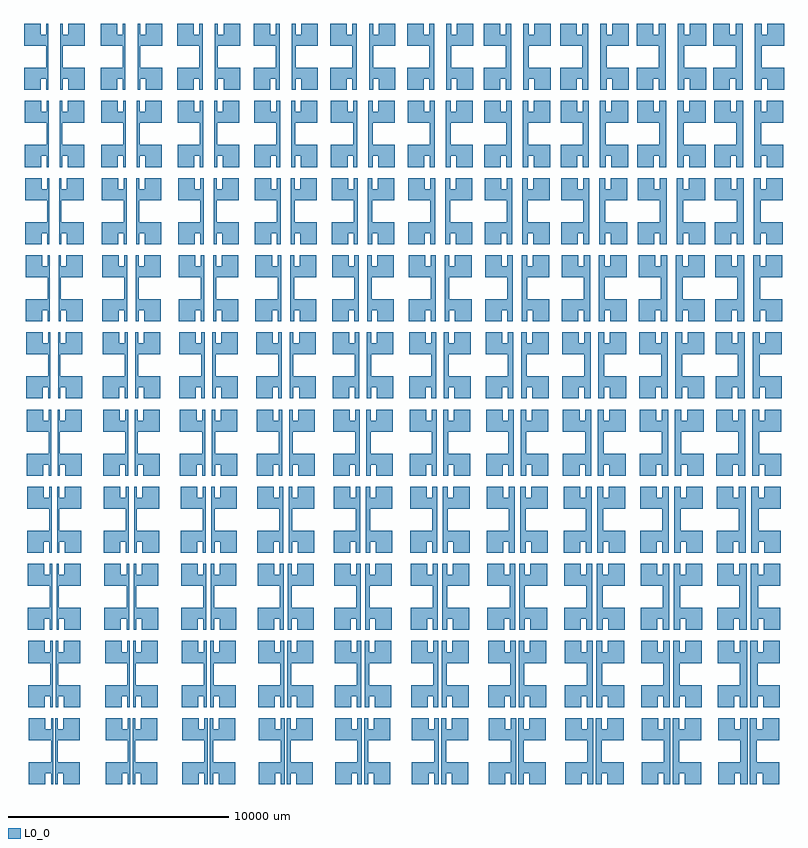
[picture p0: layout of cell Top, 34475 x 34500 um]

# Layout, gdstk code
import gdstk
lib = gdstk.Library(unit=1e-6, precision=1e-09)
def R(c, l, rs):  # rectangles x0, y0, x1, y1
    for r in rs: c.add(gdstk.rectangle(r[:2], r[2:], *l))
def P(c, l, *ps):  # polygons
    for p in ps: c.add(gdstk.Polygon(p, *l))
L0_0 = (0, 0)

top = lib.new_cell('Top')
R(top, L0_0, [(-150,-1500,-50,1500), (50,-1500,150,1500), (3325,-1500,3450,1500), (3550,-1500,3675,1500), (6800,-1500,6950,1500), (7050,-1500,7200,1500), (10275,-1500,10450,1500), (10550,-1500,10725,1500), (13750,-1500,13950,1500), (14050,-1500,14250,1500), (17225,-1500,17450,1500), (17550,-1500,17775,1500), (20700,-1500,20950,1500), (21050,-1500,21300,1500), (24175,-1500,24450,1500), (24550,-1500,24825,1500), (27650,-1500,27950,1500), (28050,-1500,28350,1500), (31125,-1500,31450,1500), (31550,-1500,31875,1500), (-175,2000,-75,5000), (75,2000,175,5000), (3300,2000,3425,5000), (3575,2000,3700,5000), (6775,2000,6925,5000), (7075,2000,7225,5000), (10250,2000,10425,5000), (10575,2000,10750,5000), (13725,2000,13925,5000), (14075,2000,14275,5000), (17200,2000,17425,5000), (17575,2000,17800,5000), (20675,2000,20925,5000), (21075,2000,21325,5000), (24150,2000,24425,5000), (24575,2000,24850,5000), (27625,2000,27925,5000), (28075,2000,28375,5000), (31100,2000,31425,5000), (31575,2000,31900,5000), (-200,5500,-100,8500), (100,5500,200,8500), (3275,5500,3400,8500), (3600,5500,3725,8500), (6750,5500,6900,8500), (7100,5500,7250,8500), (10225,5500,10400,8500), (10600,5500,10775,8500), (13700,5500,13900,8500), (14100,5500,14300,8500), (17175,5500,17400,8500), (17600,5500,17825,8500), (20650,5500,20900,8500), (21100,5500,21350,8500), (24125,5500,24400,8500), (24600,5500,24875,8500), (27600,5500,27900,8500), (28100,5500,28400,8500), (31075,5500,31400,8500), (31600,5500,31925,8500), (-225,9000,-125,12000), (125,9000,225,12000), (3250,9000,3375,12000), (3625,9000,3750,12000), (6725,9000,6875,12000), (7125,9000,7275,12000), (10200,9000,10375,12000), (10625,9000,10800,12000), (13675,9000,13875,12000), (14125,9000,14325,12000), (17150,9000,17375,12000), (17625,9000,17850,12000), (20625,9000,20875,12000), (21125,9000,21375,12000), (24100,9000,24375,12000), (24625,9000,24900,12000), (27575,9000,27875,12000), (28125,9000,28425,12000), (31050,9000,31375,12000), (31625,9000,31950,12000), (-250,12500,-150,15500), (150,12500,250,15500), (3225,12500,3350,15500), (3650,12500,3775,15500), (6700,12500,6850,15500), (7150,12500,7300,15500), (10175,12500,10350,15500), (10650,12500,10825,15500), (13650,12500,13850,15500), (14150,12500,14350,15500), (17125,12500,17350,15500), (17650,12500,17875,15500), (20600,12500,20850,15500), (21150,12500,21400,15500), (24075,12500,24350,15500), (24650,12500,24925,15500), (27550,12500,27850,15500), (28150,12500,28450,15500), (31025,12500,31350,15500), (31650,12500,31975,15500), (-275,16000,-175,19000), (175,16000,275,19000), (3200,16000,3325,19000), (3675,16000,3800,19000), (6675,16000,6825,19000), (7175,16000,7325,19000), (10150,16000,10325,19000), (10675,16000,10850,19000), (13625,16000,13825,19000), (14175,16000,14375,19000), (17100,16000,17325,19000), (17675,16000,17900,19000), (20575,16000,20825,19000), (21175,16000,21425,19000), (24050,16000,24325,19000), (24675,16000,24950,19000), (27525,16000,27825,19000), (28175,16000,28475,19000), (31000,16000,31325,19000), (31675,16000,32000,19000), (-300,19500,-200,22500), (200,19500,300,22500), (3175,19500,3300,22500), (3700,19500,3825,22500), (6650,19500,6800,22500), (7200,19500,7350,22500), (10125,19500,10300,22500), (10700,19500,10875,22500), (13600,19500,13800,22500), (14200,19500,14400,22500), (17075,19500,17300,22500), (17700,19500,17925,22500), (20550,19500,20800,22500), (21200,19500,21450,22500), (24025,19500,24300,22500), (24700,19500,24975,22500), (27500,19500,27800,22500), (28200,19500,28500,22500), (30975,19500,31300,22500), (31700,19500,32025,22500), (-325,23000,-225,26000), (225,23000,325,26000), (3150,23000,3275,26000), (3725,23000,3850,26000), (6625,23000,6775,26000), (7225,23000,7375,26000), (10100,23000,10275,26000), (10725,23000,10900,26000), (13575,23000,13775,26000), (14225,23000,14425,26000), (17050,23000,17275,26000), (17725,23000,17950,26000), (20525,23000,20775,26000), (21225,23000,21475,26000), (24000,23000,24275,26000), (24725,23000,25000,26000), (27475,23000,27775,26000), (28225,23000,28525,26000), (30950,23000,31275,26000), (31725,23000,32050,26000), (-350,26500,-250,29500), (250,26500,350,29500), (3125,26500,3250,29500), (3750,26500,3875,29500), (6600,26500,6750,29500), (7250,26500,7400,29500), (10075,26500,10250,29500), (10750,26500,10925,29500), (13550,26500,13750,29500), (14250,26500,14450,29500), (17025,26500,17250,29500), (17750,26500,17975,29500), (20500,26500,20750,29500), (21250,26500,21500,29500), (23975,26500,24250,29500), (24750,26500,25025,29500), (27450,26500,27750,29500), (28250,26500,28550,29500), (30925,26500,31250,29500), (31750,26500,32075,29500), (-375,30000,-275,33000), (275,30000,375,33000), (3100,30000,3225,33000), (3775,30000,3900,33000), (6575,30000,6725,33000), (7275,30000,7425,33000), (10050,30000,10225,33000), (10775,30000,10950,33000), (13525,30000,13725,33000), (14275,30000,14475,33000), (17000,30000,17225,33000), (17775,30000,18000,33000), (20475,30000,20725,33000), (21275,30000,21525,33000), (23950,30000,24225,33000), (24775,30000,25050,33000), (27425,30000,27725,33000), (28275,30000,28575,33000), (30900,30000,31225,33000), (31775,30000,32100,33000)])
P(top, L0_0, [(-150,500),(-1150,500),(-1150,1500),(-400,1500),(-400,1000),(-150,1000)],
  [(-150,-500),(-1150,-500),(-1150,-1500),(-400,-1500),(-400,-1000),(-150,-1000)],
  [(150,500),(1150,500),(1150,1500),(400,1500),(400,1000),(150,1000)],
  [(150,-500),(1150,-500),(1150,-1500),(400,-1500),(400,-1000),(150,-1000)],
  [(-175,4000),(-1175,4000),(-1175,5000),(-425,5000),(-425,4500),(-175,4500)],
  [(-175,3000),(-1175,3000),(-1175,2000),(-425,2000),(-425,2500),(-175,2500)],
  [(175,4000),(1175,4000),(1175,5000),(425,5000),(425,4500),(175,4500)],
  [(175,3000),(1175,3000),(1175,2000),(425,2000),(425,2500),(175,2500)],
  [(-200,7500),(-1200,7500),(-1200,8500),(-450,8500),(-450,8000),(-200,8000)],
  [(-200,6500),(-1200,6500),(-1200,5500),(-450,5500),(-450,6000),(-200,6000)],
  [(200,7500),(1200,7500),(1200,8500),(450,8500),(450,8000),(200,8000)],
  [(200,6500),(1200,6500),(1200,5500),(450,5500),(450,6000),(200,6000)],
  [(-225,11000),(-1225,11000),(-1225,12000),(-475,12000),(-475,11500),(-225,11500)],
  [(-225,10000),(-1225,10000),(-1225,9000),(-475,9000),(-475,9500),(-225,9500)],
  [(225,11000),(1225,11000),(1225,12000),(475,12000),(475,11500),(225,11500)],
  [(225,10000),(1225,10000),(1225,9000),(475,9000),(475,9500),(225,9500)],
  [(-250,14500),(-1250,14500),(-1250,15500),(-500,15500),(-500,15000),(-250,15000)],
  [(-250,13500),(-1250,13500),(-1250,12500),(-500,12500),(-500,13000),(-250,13000)],
  [(250,14500),(1250,14500),(1250,15500),(500,15500),(500,15000),(250,15000)],
  [(250,13500),(1250,13500),(1250,12500),(500,12500),(500,13000),(250,13000)],
  [(-275,18000),(-1275,18000),(-1275,19000),(-525,19000),(-525,18500),(-275,18500)],
  [(-275,17000),(-1275,17000),(-1275,16000),(-525,16000),(-525,16500),(-275,16500)],
  [(275,18000),(1275,18000),(1275,19000),(525,19000),(525,18500),(275,18500)],
  [(275,17000),(1275,17000),(1275,16000),(525,16000),(525,16500),(275,16500)],
  [(-300,21500),(-1300,21500),(-1300,22500),(-550,22500),(-550,22000),(-300,22000)],
  [(-300,20500),(-1300,20500),(-1300,19500),(-550,19500),(-550,20000),(-300,20000)],
  [(300,21500),(1300,21500),(1300,22500),(550,22500),(550,22000),(300,22000)],
  [(300,20500),(1300,20500),(1300,19500),(550,19500),(550,20000),(300,20000)],
  [(-325,25000),(-1325,25000),(-1325,26000),(-575,26000),(-575,25500),(-325,25500)],
  [(-325,24000),(-1325,24000),(-1325,23000),(-575,23000),(-575,23500),(-325,23500)],
  [(325,25000),(1325,25000),(1325,26000),(575,26000),(575,25500),(325,25500)],
  [(325,24000),(1325,24000),(1325,23000),(575,23000),(575,23500),(325,23500)],
  [(-350,28500),(-1350,28500),(-1350,29500),(-600,29500),(-600,29000),(-350,29000)],
  [(-350,27500),(-1350,27500),(-1350,26500),(-600,26500),(-600,27000),(-350,27000)],
  [(350,28500),(1350,28500),(1350,29500),(600,29500),(600,29000),(350,29000)],
  [(350,27500),(1350,27500),(1350,26500),(600,26500),(600,27000),(350,27000)],
  [(-375,32000),(-1375,32000),(-1375,33000),(-625,33000),(-625,32500),(-375,32500)],
  [(-375,31000),(-1375,31000),(-1375,30000),(-625,30000),(-625,30500),(-375,30500)],
  [(375,32000),(1375,32000),(1375,33000),(625,33000),(625,32500),(375,32500)],
  [(375,31000),(1375,31000),(1375,30000),(625,30000),(625,30500),(375,30500)],
  [(3325,500),(2325,500),(2325,1500),(3075,1500),(3075,1000),(3325,1000)],
  [(3325,-500),(2325,-500),(2325,-1500),(3075,-1500),(3075,-1000),(3325,-1000)],
  [(3675,500),(4675,500),(4675,1500),(3925,1500),(3925,1000),(3675,1000)],
  [(3675,-500),(4675,-500),(4675,-1500),(3925,-1500),(3925,-1000),(3675,-1000)],
  [(3300,4000),(2300,4000),(2300,5000),(3050,5000),(3050,4500),(3300,4500)],
  [(3300,3000),(2300,3000),(2300,2000),(3050,2000),(3050,2500),(3300,2500)],
  [(3700,4000),(4700,4000),(4700,5000),(3950,5000),(3950,4500),(3700,4500)],
  [(3700,3000),(4700,3000),(4700,2000),(3950,2000),(3950,2500),(3700,2500)],
  [(3275,7500),(2275,7500),(2275,8500),(3025,8500),(3025,8000),(3275,8000)],
  [(3275,6500),(2275,6500),(2275,5500),(3025,5500),(3025,6000),(3275,6000)],
  [(3725,7500),(4725,7500),(4725,8500),(3975,8500),(3975,8000),(3725,8000)],
  [(3725,6500),(4725,6500),(4725,5500),(3975,5500),(3975,6000),(3725,6000)],
  [(3250,11000),(2250,11000),(2250,12000),(3000,12000),(3000,11500),(3250,11500)],
  [(3250,10000),(2250,10000),(2250,9000),(3000,9000),(3000,9500),(3250,9500)],
  [(3750,11000),(4750,11000),(4750,12000),(4000,12000),(4000,11500),(3750,11500)],
  [(3750,10000),(4750,10000),(4750,9000),(4000,9000),(4000,9500),(3750,9500)],
  [(3225,14500),(2225,14500),(2225,15500),(2975,15500),(2975,15000),(3225,15000)],
  [(3225,13500),(2225,13500),(2225,12500),(2975,12500),(2975,13000),(3225,13000)],
  [(3775,14500),(4775,14500),(4775,15500),(4025,15500),(4025,15000),(3775,15000)],
  [(3775,13500),(4775,13500),(4775,12500),(4025,12500),(4025,13000),(3775,13000)],
  [(3200,18000),(2200,18000),(2200,19000),(2950,19000),(2950,18500),(3200,18500)],
  [(3200,17000),(2200,17000),(2200,16000),(2950,16000),(2950,16500),(3200,16500)],
  [(3800,18000),(4800,18000),(4800,19000),(4050,19000),(4050,18500),(3800,18500)],
  [(3800,17000),(4800,17000),(4800,16000),(4050,16000),(4050,16500),(3800,16500)],
  [(3175,21500),(2175,21500),(2175,22500),(2925,22500),(2925,22000),(3175,22000)],
  [(3175,20500),(2175,20500),(2175,19500),(2925,19500),(2925,20000),(3175,20000)],
  [(3825,21500),(4825,21500),(4825,22500),(4075,22500),(4075,22000),(3825,22000)],
  [(3825,20500),(4825,20500),(4825,19500),(4075,19500),(4075,20000),(3825,20000)],
  [(3150,25000),(2150,25000),(2150,26000),(2900,26000),(2900,25500),(3150,25500)],
  [(3150,24000),(2150,24000),(2150,23000),(2900,23000),(2900,23500),(3150,23500)],
  [(3850,25000),(4850,25000),(4850,26000),(4100,26000),(4100,25500),(3850,25500)],
  [(3850,24000),(4850,24000),(4850,23000),(4100,23000),(4100,23500),(3850,23500)],
  [(3125,28500),(2125,28500),(2125,29500),(2875,29500),(2875,29000),(3125,29000)],
  [(3125,27500),(2125,27500),(2125,26500),(2875,26500),(2875,27000),(3125,27000)],
  [(3875,28500),(4875,28500),(4875,29500),(4125,29500),(4125,29000),(3875,29000)],
  [(3875,27500),(4875,27500),(4875,26500),(4125,26500),(4125,27000),(3875,27000)],
  [(3100,32000),(2100,32000),(2100,33000),(2850,33000),(2850,32500),(3100,32500)],
  [(3100,31000),(2100,31000),(2100,30000),(2850,30000),(2850,30500),(3100,30500)],
  [(3900,32000),(4900,32000),(4900,33000),(4150,33000),(4150,32500),(3900,32500)],
  [(3900,31000),(4900,31000),(4900,30000),(4150,30000),(4150,30500),(3900,30500)],
  [(6800,500),(5800,500),(5800,1500),(6550,1500),(6550,1000),(6800,1000)],
  [(6800,-500),(5800,-500),(5800,-1500),(6550,-1500),(6550,-1000),(6800,-1000)],
  [(7200,500),(8200,500),(8200,1500),(7450,1500),(7450,1000),(7200,1000)],
  [(7200,-500),(8200,-500),(8200,-1500),(7450,-1500),(7450,-1000),(7200,-1000)],
  [(6775,4000),(5775,4000),(5775,5000),(6525,5000),(6525,4500),(6775,4500)],
  [(6775,3000),(5775,3000),(5775,2000),(6525,2000),(6525,2500),(6775,2500)],
  [(7225,4000),(8225,4000),(8225,5000),(7475,5000),(7475,4500),(7225,4500)],
  [(7225,3000),(8225,3000),(8225,2000),(7475,2000),(7475,2500),(7225,2500)],
  [(6750,7500),(5750,7500),(5750,8500),(6500,8500),(6500,8000),(6750,8000)],
  [(6750,6500),(5750,6500),(5750,5500),(6500,5500),(6500,6000),(6750,6000)],
  [(7250,7500),(8250,7500),(8250,8500),(7500,8500),(7500,8000),(7250,8000)],
  [(7250,6500),(8250,6500),(8250,5500),(7500,5500),(7500,6000),(7250,6000)],
  [(6725,11000),(5725,11000),(5725,12000),(6475,12000),(6475,11500),(6725,11500)],
  [(6725,10000),(5725,10000),(5725,9000),(6475,9000),(6475,9500),(6725,9500)],
  [(7275,11000),(8275,11000),(8275,12000),(7525,12000),(7525,11500),(7275,11500)],
  [(7275,10000),(8275,10000),(8275,9000),(7525,9000),(7525,9500),(7275,9500)],
  [(6700,14500),(5700,14500),(5700,15500),(6450,15500),(6450,15000),(6700,15000)],
  [(6700,13500),(5700,13500),(5700,12500),(6450,12500),(6450,13000),(6700,13000)],
  [(7300,14500),(8300,14500),(8300,15500),(7550,15500),(7550,15000),(7300,15000)],
  [(7300,13500),(8300,13500),(8300,12500),(7550,12500),(7550,13000),(7300,13000)],
  [(6675,18000),(5675,18000),(5675,19000),(6425,19000),(6425,18500),(6675,18500)],
  [(6675,17000),(5675,17000),(5675,16000),(6425,16000),(6425,16500),(6675,16500)],
  [(7325,18000),(8325,18000),(8325,19000),(7575,19000),(7575,18500),(7325,18500)],
  [(7325,17000),(8325,17000),(8325,16000),(7575,16000),(7575,16500),(7325,16500)],
  [(6650,21500),(5650,21500),(5650,22500),(6400,22500),(6400,22000),(6650,22000)],
  [(6650,20500),(5650,20500),(5650,19500),(6400,19500),(6400,20000),(6650,20000)],
  [(7350,21500),(8350,21500),(8350,22500),(7600,22500),(7600,22000),(7350,22000)],
  [(7350,20500),(8350,20500),(8350,19500),(7600,19500),(7600,20000),(7350,20000)],
  [(6625,25000),(5625,25000),(5625,26000),(6375,26000),(6375,25500),(6625,25500)],
  [(6625,24000),(5625,24000),(5625,23000),(6375,23000),(6375,23500),(6625,23500)],
  [(7375,25000),(8375,25000),(8375,26000),(7625,26000),(7625,25500),(7375,25500)],
  [(7375,24000),(8375,24000),(8375,23000),(7625,23000),(7625,23500),(7375,23500)],
  [(6600,28500),(5600,28500),(5600,29500),(6350,29500),(6350,29000),(6600,29000)],
  [(6600,27500),(5600,27500),(5600,26500),(6350,26500),(6350,27000),(6600,27000)],
  [(7400,28500),(8400,28500),(8400,29500),(7650,29500),(7650,29000),(7400,29000)],
  [(7400,27500),(8400,27500),(8400,26500),(7650,26500),(7650,27000),(7400,27000)],
  [(6575,32000),(5575,32000),(5575,33000),(6325,33000),(6325,32500),(6575,32500)],
  [(6575,31000),(5575,31000),(5575,30000),(6325,30000),(6325,30500),(6575,30500)],
  [(7425,32000),(8425,32000),(8425,33000),(7675,33000),(7675,32500),(7425,32500)],
  [(7425,31000),(8425,31000),(8425,30000),(7675,30000),(7675,30500),(7425,30500)],
  [(10275,500),(9275,500),(9275,1500),(10025,1500),(10025,1000),(10275,1000)],
  [(10275,-500),(9275,-500),(9275,-1500),(10025,-1500),(10025,-1000),(10275,-1000)],
  [(10725,500),(11725,500),(11725,1500),(10975,1500),(10975,1000),(10725,1000)],
  [(10725,-500),(11725,-500),(11725,-1500),(10975,-1500),(10975,-1000),(10725,-1000)],
  [(10250,4000),(9250,4000),(9250,5000),(10000,5000),(10000,4500),(10250,4500)],
  [(10250,3000),(9250,3000),(9250,2000),(10000,2000),(10000,2500),(10250,2500)],
  [(10750,4000),(11750,4000),(11750,5000),(11000,5000),(11000,4500),(10750,4500)],
  [(10750,3000),(11750,3000),(11750,2000),(11000,2000),(11000,2500),(10750,2500)],
  [(10225,7500),(9225,7500),(9225,8500),(9975,8500),(9975,8000),(10225,8000)],
  [(10225,6500),(9225,6500),(9225,5500),(9975,5500),(9975,6000),(10225,6000)],
  [(10775,7500),(11775,7500),(11775,8500),(11025,8500),(11025,8000),(10775,8000)],
  [(10775,6500),(11775,6500),(11775,5500),(11025,5500),(11025,6000),(10775,6000)],
  [(10200,11000),(9200,11000),(9200,12000),(9950,12000),(9950,11500),(10200,11500)],
  [(10200,10000),(9200,10000),(9200,9000),(9950,9000),(9950,9500),(10200,9500)],
  [(10800,11000),(11800,11000),(11800,12000),(11050,12000),(11050,11500),(10800,11500)],
  [(10800,10000),(11800,10000),(11800,9000),(11050,9000),(11050,9500),(10800,9500)],
  [(10175,14500),(9175,14500),(9175,15500),(9925,15500),(9925,15000),(10175,15000)],
  [(10175,13500),(9175,13500),(9175,12500),(9925,12500),(9925,13000),(10175,13000)],
  [(10825,14500),(11825,14500),(11825,15500),(11075,15500),(11075,15000),(10825,15000)],
  [(10825,13500),(11825,13500),(11825,12500),(11075,12500),(11075,13000),(10825,13000)],
  [(10150,18000),(9150,18000),(9150,19000),(9900,19000),(9900,18500),(10150,18500)],
  [(10150,17000),(9150,17000),(9150,16000),(9900,16000),(9900,16500),(10150,16500)],
  [(10850,18000),(11850,18000),(11850,19000),(11100,19000),(11100,18500),(10850,18500)],
  [(10850,17000),(11850,17000),(11850,16000),(11100,16000),(11100,16500),(10850,16500)],
  [(10125,21500),(9125,21500),(9125,22500),(9875,22500),(9875,22000),(10125,22000)],
  [(10125,20500),(9125,20500),(9125,19500),(9875,19500),(9875,20000),(10125,20000)],
  [(10875,21500),(11875,21500),(11875,22500),(11125,22500),(11125,22000),(10875,22000)],
  [(10875,20500),(11875,20500),(11875,19500),(11125,19500),(11125,20000),(10875,20000)],
  [(10100,25000),(9100,25000),(9100,26000),(9850,26000),(9850,25500),(10100,25500)],
  [(10100,24000),(9100,24000),(9100,23000),(9850,23000),(9850,23500),(10100,23500)],
  [(10900,25000),(11900,25000),(11900,26000),(11150,26000),(11150,25500),(10900,25500)],
  [(10900,24000),(11900,24000),(11900,23000),(11150,23000),(11150,23500),(10900,23500)],
  [(10075,28500),(9075,28500),(9075,29500),(9825,29500),(9825,29000),(10075,29000)],
  [(10075,27500),(9075,27500),(9075,26500),(9825,26500),(9825,27000),(10075,27000)],
  [(10925,28500),(11925,28500),(11925,29500),(11175,29500),(11175,29000),(10925,29000)],
  [(10925,27500),(11925,27500),(11925,26500),(11175,26500),(11175,27000),(10925,27000)],
  [(10050,32000),(9050,32000),(9050,33000),(9800,33000),(9800,32500),(10050,32500)],
  [(10050,31000),(9050,31000),(9050,30000),(9800,30000),(9800,30500),(10050,30500)],
  [(10950,32000),(11950,32000),(11950,33000),(11200,33000),(11200,32500),(10950,32500)],
  [(10950,31000),(11950,31000),(11950,30000),(11200,30000),(11200,30500),(10950,30500)],
  [(13750,500),(12750,500),(12750,1500),(13500,1500),(13500,1000),(13750,1000)],
  [(13750,-500),(12750,-500),(12750,-1500),(13500,-1500),(13500,-1000),(13750,-1000)],
  [(14250,500),(15250,500),(15250,1500),(14500,1500),(14500,1000),(14250,1000)],
  [(14250,-500),(15250,-500),(15250,-1500),(14500,-1500),(14500,-1000),(14250,-1000)],
  [(13725,4000),(12725,4000),(12725,5000),(13475,5000),(13475,4500),(13725,4500)],
  [(13725,3000),(12725,3000),(12725,2000),(13475,2000),(13475,2500),(13725,2500)],
  [(14275,4000),(15275,4000),(15275,5000),(14525,5000),(14525,4500),(14275,4500)],
  [(14275,3000),(15275,3000),(15275,2000),(14525,2000),(14525,2500),(14275,2500)],
  [(13700,7500),(12700,7500),(12700,8500),(13450,8500),(13450,8000),(13700,8000)],
  [(13700,6500),(12700,6500),(12700,5500),(13450,5500),(13450,6000),(13700,6000)],
  [(14300,7500),(15300,7500),(15300,8500),(14550,8500),(14550,8000),(14300,8000)],
  [(14300,6500),(15300,6500),(15300,5500),(14550,5500),(14550,6000),(14300,6000)],
  [(13675,11000),(12675,11000),(12675,12000),(13425,12000),(13425,11500),(13675,11500)],
  [(13675,10000),(12675,10000),(12675,9000),(13425,9000),(13425,9500),(13675,9500)],
  [(14325,11000),(15325,11000),(15325,12000),(14575,12000),(14575,11500),(14325,11500)],
  [(14325,10000),(15325,10000),(15325,9000),(14575,9000),(14575,9500),(14325,9500)],
  [(13650,14500),(12650,14500),(12650,15500),(13400,15500),(13400,15000),(13650,15000)],
  [(13650,13500),(12650,13500),(12650,12500),(13400,12500),(13400,13000),(13650,13000)],
  [(14350,14500),(15350,14500),(15350,15500),(14600,15500),(14600,15000),(14350,15000)],
  [(14350,13500),(15350,13500),(15350,12500),(14600,12500),(14600,13000),(14350,13000)],
  [(13625,18000),(12625,18000),(12625,19000),(13375,19000),(13375,18500),(13625,18500)],
  [(13625,17000),(12625,17000),(12625,16000),(13375,16000),(13375,16500),(13625,16500)],
  [(14375,18000),(15375,18000),(15375,19000),(14625,19000),(14625,18500),(14375,18500)],
  [(14375,17000),(15375,17000),(15375,16000),(14625,16000),(14625,16500),(14375,16500)],
  [(13600,21500),(12600,21500),(12600,22500),(13350,22500),(13350,22000),(13600,22000)],
  [(13600,20500),(12600,20500),(12600,19500),(13350,19500),(13350,20000),(13600,20000)],
  [(14400,21500),(15400,21500),(15400,22500),(14650,22500),(14650,22000),(14400,22000)],
  [(14400,20500),(15400,20500),(15400,19500),(14650,19500),(14650,20000),(14400,20000)],
  [(13575,25000),(12575,25000),(12575,26000),(13325,26000),(13325,25500),(13575,25500)],
  [(13575,24000),(12575,24000),(12575,23000),(13325,23000),(13325,23500),(13575,23500)],
  [(14425,25000),(15425,25000),(15425,26000),(14675,26000),(14675,25500),(14425,25500)],
  [(14425,24000),(15425,24000),(15425,23000),(14675,23000),(14675,23500),(14425,23500)],
  [(13550,28500),(12550,28500),(12550,29500),(13300,29500),(13300,29000),(13550,29000)],
  [(13550,27500),(12550,27500),(12550,26500),(13300,26500),(13300,27000),(13550,27000)],
  [(14450,28500),(15450,28500),(15450,29500),(14700,29500),(14700,29000),(14450,29000)],
  [(14450,27500),(15450,27500),(15450,26500),(14700,26500),(14700,27000),(14450,27000)],
  [(13525,32000),(12525,32000),(12525,33000),(13275,33000),(13275,32500),(13525,32500)],
  [(13525,31000),(12525,31000),(12525,30000),(13275,30000),(13275,30500),(13525,30500)],
  [(14475,32000),(15475,32000),(15475,33000),(14725,33000),(14725,32500),(14475,32500)],
  [(14475,31000),(15475,31000),(15475,30000),(14725,30000),(14725,30500),(14475,30500)],
  [(17225,500),(16225,500),(16225,1500),(16975,1500),(16975,1000),(17225,1000)],
  [(17225,-500),(16225,-500),(16225,-1500),(16975,-1500),(16975,-1000),(17225,-1000)],
  [(17775,500),(18775,500),(18775,1500),(18025,1500),(18025,1000),(17775,1000)],
  [(17775,-500),(18775,-500),(18775,-1500),(18025,-1500),(18025,-1000),(17775,-1000)],
  [(17200,4000),(16200,4000),(16200,5000),(16950,5000),(16950,4500),(17200,4500)],
  [(17200,3000),(16200,3000),(16200,2000),(16950,2000),(16950,2500),(17200,2500)],
  [(17800,4000),(18800,4000),(18800,5000),(18050,5000),(18050,4500),(17800,4500)],
  [(17800,3000),(18800,3000),(18800,2000),(18050,2000),(18050,2500),(17800,2500)],
  [(17175,7500),(16175,7500),(16175,8500),(16925,8500),(16925,8000),(17175,8000)],
  [(17175,6500),(16175,6500),(16175,5500),(16925,5500),(16925,6000),(17175,6000)],
  [(17825,7500),(18825,7500),(18825,8500),(18075,8500),(18075,8000),(17825,8000)],
  [(17825,6500),(18825,6500),(18825,5500),(18075,5500),(18075,6000),(17825,6000)],
  [(17150,11000),(16150,11000),(16150,12000),(16900,12000),(16900,11500),(17150,11500)],
  [(17150,10000),(16150,10000),(16150,9000),(16900,9000),(16900,9500),(17150,9500)],
  [(17850,11000),(18850,11000),(18850,12000),(18100,12000),(18100,11500),(17850,11500)],
  [(17850,10000),(18850,10000),(18850,9000),(18100,9000),(18100,9500),(17850,9500)],
  [(17125,14500),(16125,14500),(16125,15500),(16875,15500),(16875,15000),(17125,15000)],
  [(17125,13500),(16125,13500),(16125,12500),(16875,12500),(16875,13000),(17125,13000)],
  [(17875,14500),(18875,14500),(18875,15500),(18125,15500),(18125,15000),(17875,15000)],
  [(17875,13500),(18875,13500),(18875,12500),(18125,12500),(18125,13000),(17875,13000)],
  [(17100,18000),(16100,18000),(16100,19000),(16850,19000),(16850,18500),(17100,18500)],
  [(17100,17000),(16100,17000),(16100,16000),(16850,16000),(16850,16500),(17100,16500)],
  [(17900,18000),(18900,18000),(18900,19000),(18150,19000),(18150,18500),(17900,18500)],
  [(17900,17000),(18900,17000),(18900,16000),(18150,16000),(18150,16500),(17900,16500)],
  [(17075,21500),(16075,21500),(16075,22500),(16825,22500),(16825,22000),(17075,22000)],
  [(17075,20500),(16075,20500),(16075,19500),(16825,19500),(16825,20000),(17075,20000)],
  [(17925,21500),(18925,21500),(18925,22500),(18175,22500),(18175,22000),(17925,22000)],
  [(17925,20500),(18925,20500),(18925,19500),(18175,19500),(18175,20000),(17925,20000)],
  [(17050,25000),(16050,25000),(16050,26000),(16800,26000),(16800,25500),(17050,25500)],
  [(17050,24000),(16050,24000),(16050,23000),(16800,23000),(16800,23500),(17050,23500)],
  [(17950,25000),(18950,25000),(18950,26000),(18200,26000),(18200,25500),(17950,25500)],
  [(17950,24000),(18950,24000),(18950,23000),(18200,23000),(18200,23500),(17950,23500)],
  [(17025,28500),(16025,28500),(16025,29500),(16775,29500),(16775,29000),(17025,29000)],
  [(17025,27500),(16025,27500),(16025,26500),(16775,26500),(16775,27000),(17025,27000)],
  [(17975,28500),(18975,28500),(18975,29500),(18225,29500),(18225,29000),(17975,29000)],
  [(17975,27500),(18975,27500),(18975,26500),(18225,26500),(18225,27000),(17975,27000)],
  [(17000,32000),(16000,32000),(16000,33000),(16750,33000),(16750,32500),(17000,32500)],
  [(17000,31000),(16000,31000),(16000,30000),(16750,30000),(16750,30500),(17000,30500)],
  [(18000,32000),(19000,32000),(19000,33000),(18250,33000),(18250,32500),(18000,32500)],
  [(18000,31000),(19000,31000),(19000,30000),(18250,30000),(18250,30500),(18000,30500)],
  [(20700,500),(19700,500),(19700,1500),(20450,1500),(20450,1000),(20700,1000)],
  [(20700,-500),(19700,-500),(19700,-1500),(20450,-1500),(20450,-1000),(20700,-1000)],
  [(21300,500),(22300,500),(22300,1500),(21550,1500),(21550,1000),(21300,1000)],
  [(21300,-500),(22300,-500),(22300,-1500),(21550,-1500),(21550,-1000),(21300,-1000)],
  [(20675,4000),(19675,4000),(19675,5000),(20425,5000),(20425,4500),(20675,4500)],
  [(20675,3000),(19675,3000),(19675,2000),(20425,2000),(20425,2500),(20675,2500)],
  [(21325,4000),(22325,4000),(22325,5000),(21575,5000),(21575,4500),(21325,4500)],
  [(21325,3000),(22325,3000),(22325,2000),(21575,2000),(21575,2500),(21325,2500)],
  [(20650,7500),(19650,7500),(19650,8500),(20400,8500),(20400,8000),(20650,8000)],
  [(20650,6500),(19650,6500),(19650,5500),(20400,5500),(20400,6000),(20650,6000)],
  [(21350,7500),(22350,7500),(22350,8500),(21600,8500),(21600,8000),(21350,8000)],
  [(21350,6500),(22350,6500),(22350,5500),(21600,5500),(21600,6000),(21350,6000)],
  [(20625,11000),(19625,11000),(19625,12000),(20375,12000),(20375,11500),(20625,11500)],
  [(20625,10000),(19625,10000),(19625,9000),(20375,9000),(20375,9500),(20625,9500)],
  [(21375,11000),(22375,11000),(22375,12000),(21625,12000),(21625,11500),(21375,11500)],
  [(21375,10000),(22375,10000),(22375,9000),(21625,9000),(21625,9500),(21375,9500)],
  [(20600,14500),(19600,14500),(19600,15500),(20350,15500),(20350,15000),(20600,15000)],
  [(20600,13500),(19600,13500),(19600,12500),(20350,12500),(20350,13000),(20600,13000)],
  [(21400,14500),(22400,14500),(22400,15500),(21650,15500),(21650,15000),(21400,15000)],
  [(21400,13500),(22400,13500),(22400,12500),(21650,12500),(21650,13000),(21400,13000)],
  [(20575,18000),(19575,18000),(19575,19000),(20325,19000),(20325,18500),(20575,18500)],
  [(20575,17000),(19575,17000),(19575,16000),(20325,16000),(20325,16500),(20575,16500)],
  [(21425,18000),(22425,18000),(22425,19000),(21675,19000),(21675,18500),(21425,18500)],
  [(21425,17000),(22425,17000),(22425,16000),(21675,16000),(21675,16500),(21425,16500)],
  [(20550,21500),(19550,21500),(19550,22500),(20300,22500),(20300,22000),(20550,22000)],
  [(20550,20500),(19550,20500),(19550,19500),(20300,19500),(20300,20000),(20550,20000)],
  [(21450,21500),(22450,21500),(22450,22500),(21700,22500),(21700,22000),(21450,22000)],
  [(21450,20500),(22450,20500),(22450,19500),(21700,19500),(21700,20000),(21450,20000)],
  [(20525,25000),(19525,25000),(19525,26000),(20275,26000),(20275,25500),(20525,25500)],
  [(20525,24000),(19525,24000),(19525,23000),(20275,23000),(20275,23500),(20525,23500)],
  [(21475,25000),(22475,25000),(22475,26000),(21725,26000),(21725,25500),(21475,25500)],
  [(21475,24000),(22475,24000),(22475,23000),(21725,23000),(21725,23500),(21475,23500)],
  [(20500,28500),(19500,28500),(19500,29500),(20250,29500),(20250,29000),(20500,29000)],
  [(20500,27500),(19500,27500),(19500,26500),(20250,26500),(20250,27000),(20500,27000)],
  [(21500,28500),(22500,28500),(22500,29500),(21750,29500),(21750,29000),(21500,29000)],
  [(21500,27500),(22500,27500),(22500,26500),(21750,26500),(21750,27000),(21500,27000)],
  [(20475,32000),(19475,32000),(19475,33000),(20225,33000),(20225,32500),(20475,32500)],
  [(20475,31000),(19475,31000),(19475,30000),(20225,30000),(20225,30500),(20475,30500)],
  [(21525,32000),(22525,32000),(22525,33000),(21775,33000),(21775,32500),(21525,32500)],
  [(21525,31000),(22525,31000),(22525,30000),(21775,30000),(21775,30500),(21525,30500)],
  [(24175,500),(23175,500),(23175,1500),(23925,1500),(23925,1000),(24175,1000)],
  [(24175,-500),(23175,-500),(23175,-1500),(23925,-1500),(23925,-1000),(24175,-1000)],
  [(24825,500),(25825,500),(25825,1500),(25075,1500),(25075,1000),(24825,1000)],
  [(24825,-500),(25825,-500),(25825,-1500),(25075,-1500),(25075,-1000),(24825,-1000)],
  [(24150,4000),(23150,4000),(23150,5000),(23900,5000),(23900,4500),(24150,4500)],
  [(24150,3000),(23150,3000),(23150,2000),(23900,2000),(23900,2500),(24150,2500)],
  [(24850,4000),(25850,4000),(25850,5000),(25100,5000),(25100,4500),(24850,4500)],
  [(24850,3000),(25850,3000),(25850,2000),(25100,2000),(25100,2500),(24850,2500)],
  [(24125,7500),(23125,7500),(23125,8500),(23875,8500),(23875,8000),(24125,8000)],
  [(24125,6500),(23125,6500),(23125,5500),(23875,5500),(23875,6000),(24125,6000)],
  [(24875,7500),(25875,7500),(25875,8500),(25125,8500),(25125,8000),(24875,8000)],
  [(24875,6500),(25875,6500),(25875,5500),(25125,5500),(25125,6000),(24875,6000)],
  [(24100,11000),(23100,11000),(23100,12000),(23850,12000),(23850,11500),(24100,11500)],
  [(24100,10000),(23100,10000),(23100,9000),(23850,9000),(23850,9500),(24100,9500)],
  [(24900,11000),(25900,11000),(25900,12000),(25150,12000),(25150,11500),(24900,11500)],
  [(24900,10000),(25900,10000),(25900,9000),(25150,9000),(25150,9500),(24900,9500)],
  [(24075,14500),(23075,14500),(23075,15500),(23825,15500),(23825,15000),(24075,15000)],
  [(24075,13500),(23075,13500),(23075,12500),(23825,12500),(23825,13000),(24075,13000)],
  [(24925,14500),(25925,14500),(25925,15500),(25175,15500),(25175,15000),(24925,15000)],
  [(24925,13500),(25925,13500),(25925,12500),(25175,12500),(25175,13000),(24925,13000)],
  [(24050,18000),(23050,18000),(23050,19000),(23800,19000),(23800,18500),(24050,18500)],
  [(24050,17000),(23050,17000),(23050,16000),(23800,16000),(23800,16500),(24050,16500)],
  [(24950,18000),(25950,18000),(25950,19000),(25200,19000),(25200,18500),(24950,18500)],
  [(24950,17000),(25950,17000),(25950,16000),(25200,16000),(25200,16500),(24950,16500)],
  [(24025,21500),(23025,21500),(23025,22500),(23775,22500),(23775,22000),(24025,22000)],
  [(24025,20500),(23025,20500),(23025,19500),(23775,19500),(23775,20000),(24025,20000)],
  [(24975,21500),(25975,21500),(25975,22500),(25225,22500),(25225,22000),(24975,22000)],
  [(24975,20500),(25975,20500),(25975,19500),(25225,19500),(25225,20000),(24975,20000)],
  [(24000,25000),(23000,25000),(23000,26000),(23750,26000),(23750,25500),(24000,25500)],
  [(24000,24000),(23000,24000),(23000,23000),(23750,23000),(23750,23500),(24000,23500)],
  [(25000,25000),(26000,25000),(26000,26000),(25250,26000),(25250,25500),(25000,25500)],
  [(25000,24000),(26000,24000),(26000,23000),(25250,23000),(25250,23500),(25000,23500)],
  [(23975,28500),(22975,28500),(22975,29500),(23725,29500),(23725,29000),(23975,29000)],
  [(23975,27500),(22975,27500),(22975,26500),(23725,26500),(23725,27000),(23975,27000)],
  [(25025,28500),(26025,28500),(26025,29500),(25275,29500),(25275,29000),(25025,29000)],
  [(25025,27500),(26025,27500),(26025,26500),(25275,26500),(25275,27000),(25025,27000)],
  [(23950,32000),(22950,32000),(22950,33000),(23700,33000),(23700,32500),(23950,32500)],
  [(23950,31000),(22950,31000),(22950,30000),(23700,30000),(23700,30500),(23950,30500)],
  [(25050,32000),(26050,32000),(26050,33000),(25300,33000),(25300,32500),(25050,32500)],
  [(25050,31000),(26050,31000),(26050,30000),(25300,30000),(25300,30500),(25050,30500)],
  [(27650,500),(26650,500),(26650,1500),(27400,1500),(27400,1000),(27650,1000)],
  [(27650,-500),(26650,-500),(26650,-1500),(27400,-1500),(27400,-1000),(27650,-1000)],
  [(28350,500),(29350,500),(29350,1500),(28600,1500),(28600,1000),(28350,1000)],
  [(28350,-500),(29350,-500),(29350,-1500),(28600,-1500),(28600,-1000),(28350,-1000)],
  [(27625,4000),(26625,4000),(26625,5000),(27375,5000),(27375,4500),(27625,4500)],
  [(27625,3000),(26625,3000),(26625,2000),(27375,2000),(27375,2500),(27625,2500)],
  [(28375,4000),(29375,4000),(29375,5000),(28625,5000),(28625,4500),(28375,4500)],
  [(28375,3000),(29375,3000),(29375,2000),(28625,2000),(28625,2500),(28375,2500)],
  [(27600,7500),(26600,7500),(26600,8500),(27350,8500),(27350,8000),(27600,8000)],
  [(27600,6500),(26600,6500),(26600,5500),(27350,5500),(27350,6000),(27600,6000)],
  [(28400,7500),(29400,7500),(29400,8500),(28650,8500),(28650,8000),(28400,8000)],
  [(28400,6500),(29400,6500),(29400,5500),(28650,5500),(28650,6000),(28400,6000)],
  [(27575,11000),(26575,11000),(26575,12000),(27325,12000),(27325,11500),(27575,11500)],
  [(27575,10000),(26575,10000),(26575,9000),(27325,9000),(27325,9500),(27575,9500)],
  [(28425,11000),(29425,11000),(29425,12000),(28675,12000),(28675,11500),(28425,11500)],
  [(28425,10000),(29425,10000),(29425,9000),(28675,9000),(28675,9500),(28425,9500)],
  [(27550,14500),(26550,14500),(26550,15500),(27300,15500),(27300,15000),(27550,15000)],
  [(27550,13500),(26550,13500),(26550,12500),(27300,12500),(27300,13000),(27550,13000)],
  [(28450,14500),(29450,14500),(29450,15500),(28700,15500),(28700,15000),(28450,15000)],
  [(28450,13500),(29450,13500),(29450,12500),(28700,12500),(28700,13000),(28450,13000)],
  [(27525,18000),(26525,18000),(26525,19000),(27275,19000),(27275,18500),(27525,18500)],
  [(27525,17000),(26525,17000),(26525,16000),(27275,16000),(27275,16500),(27525,16500)],
  [(28475,18000),(29475,18000),(29475,19000),(28725,19000),(28725,18500),(28475,18500)],
  [(28475,17000),(29475,17000),(29475,16000),(28725,16000),(28725,16500),(28475,16500)],
  [(27500,21500),(26500,21500),(26500,22500),(27250,22500),(27250,22000),(27500,22000)],
  [(27500,20500),(26500,20500),(26500,19500),(27250,19500),(27250,20000),(27500,20000)],
  [(28500,21500),(29500,21500),(29500,22500),(28750,22500),(28750,22000),(28500,22000)],
  [(28500,20500),(29500,20500),(29500,19500),(28750,19500),(28750,20000),(28500,20000)],
  [(27475,25000),(26475,25000),(26475,26000),(27225,26000),(27225,25500),(27475,25500)],
  [(27475,24000),(26475,24000),(26475,23000),(27225,23000),(27225,23500),(27475,23500)],
  [(28525,25000),(29525,25000),(29525,26000),(28775,26000),(28775,25500),(28525,25500)],
  [(28525,24000),(29525,24000),(29525,23000),(28775,23000),(28775,23500),(28525,23500)],
  [(27450,28500),(26450,28500),(26450,29500),(27200,29500),(27200,29000),(27450,29000)],
  [(27450,27500),(26450,27500),(26450,26500),(27200,26500),(27200,27000),(27450,27000)],
  [(28550,28500),(29550,28500),(29550,29500),(28800,29500),(28800,29000),(28550,29000)],
  [(28550,27500),(29550,27500),(29550,26500),(28800,26500),(28800,27000),(28550,27000)],
  [(27425,32000),(26425,32000),(26425,33000),(27175,33000),(27175,32500),(27425,32500)],
  [(27425,31000),(26425,31000),(26425,30000),(27175,30000),(27175,30500),(27425,30500)],
  [(28575,32000),(29575,32000),(29575,33000),(28825,33000),(28825,32500),(28575,32500)],
  [(28575,31000),(29575,31000),(29575,30000),(28825,30000),(28825,30500),(28575,30500)],
  [(31125,500),(30125,500),(30125,1500),(30875,1500),(30875,1000),(31125,1000)],
  [(31125,-500),(30125,-500),(30125,-1500),(30875,-1500),(30875,-1000),(31125,-1000)],
  [(31875,500),(32875,500),(32875,1500),(32125,1500),(32125,1000),(31875,1000)],
  [(31875,-500),(32875,-500),(32875,-1500),(32125,-1500),(32125,-1000),(31875,-1000)],
  [(31100,4000),(30100,4000),(30100,5000),(30850,5000),(30850,4500),(31100,4500)],
  [(31100,3000),(30100,3000),(30100,2000),(30850,2000),(30850,2500),(31100,2500)],
  [(31900,4000),(32900,4000),(32900,5000),(32150,5000),(32150,4500),(31900,4500)],
  [(31900,3000),(32900,3000),(32900,2000),(32150,2000),(32150,2500),(31900,2500)],
  [(31075,7500),(30075,7500),(30075,8500),(30825,8500),(30825,8000),(31075,8000)],
  [(31075,6500),(30075,6500),(30075,5500),(30825,5500),(30825,6000),(31075,6000)],
  [(31925,7500),(32925,7500),(32925,8500),(32175,8500),(32175,8000),(31925,8000)],
  [(31925,6500),(32925,6500),(32925,5500),(32175,5500),(32175,6000),(31925,6000)],
  [(31050,11000),(30050,11000),(30050,12000),(30800,12000),(30800,11500),(31050,11500)],
  [(31050,10000),(30050,10000),(30050,9000),(30800,9000),(30800,9500),(31050,9500)],
  [(31950,11000),(32950,11000),(32950,12000),(32200,12000),(32200,11500),(31950,11500)],
  [(31950,10000),(32950,10000),(32950,9000),(32200,9000),(32200,9500),(31950,9500)],
  [(31025,14500),(30025,14500),(30025,15500),(30775,15500),(30775,15000),(31025,15000)],
  [(31025,13500),(30025,13500),(30025,12500),(30775,12500),(30775,13000),(31025,13000)],
  [(31975,14500),(32975,14500),(32975,15500),(32225,15500),(32225,15000),(31975,15000)],
  [(31975,13500),(32975,13500),(32975,12500),(32225,12500),(32225,13000),(31975,13000)],
  [(31000,18000),(30000,18000),(30000,19000),(30750,19000),(30750,18500),(31000,18500)],
  [(31000,17000),(30000,17000),(30000,16000),(30750,16000),(30750,16500),(31000,16500)],
  [(32000,18000),(33000,18000),(33000,19000),(32250,19000),(32250,18500),(32000,18500)],
  [(32000,17000),(33000,17000),(33000,16000),(32250,16000),(32250,16500),(32000,16500)],
  [(30975,21500),(29975,21500),(29975,22500),(30725,22500),(30725,22000),(30975,22000)],
  [(30975,20500),(29975,20500),(29975,19500),(30725,19500),(30725,20000),(30975,20000)],
  [(32025,21500),(33025,21500),(33025,22500),(32275,22500),(32275,22000),(32025,22000)],
  [(32025,20500),(33025,20500),(33025,19500),(32275,19500),(32275,20000),(32025,20000)],
  [(30950,25000),(29950,25000),(29950,26000),(30700,26000),(30700,25500),(30950,25500)],
  [(30950,24000),(29950,24000),(29950,23000),(30700,23000),(30700,23500),(30950,23500)],
  [(32050,25000),(33050,25000),(33050,26000),(32300,26000),(32300,25500),(32050,25500)],
  [(32050,24000),(33050,24000),(33050,23000),(32300,23000),(32300,23500),(32050,23500)],
  [(30925,28500),(29925,28500),(29925,29500),(30675,29500),(30675,29000),(30925,29000)],
  [(30925,27500),(29925,27500),(29925,26500),(30675,26500),(30675,27000),(30925,27000)],
  [(32075,28500),(33075,28500),(33075,29500),(32325,29500),(32325,29000),(32075,29000)],
  [(32075,27500),(33075,27500),(33075,26500),(32325,26500),(32325,27000),(32075,27000)],
  [(30900,32000),(29900,32000),(29900,33000),(30650,33000),(30650,32500),(30900,32500)],
  [(30900,31000),(29900,31000),(29900,30000),(30650,30000),(30650,30500),(30900,30500)],
  [(32100,32000),(33100,32000),(33100,33000),(32350,33000),(32350,32500),(32100,32500)],
  [(32100,31000),(33100,31000),(33100,30000),(32350,30000),(32350,30500),(32100,30500)])

lib.write_gds('Top.gds')
